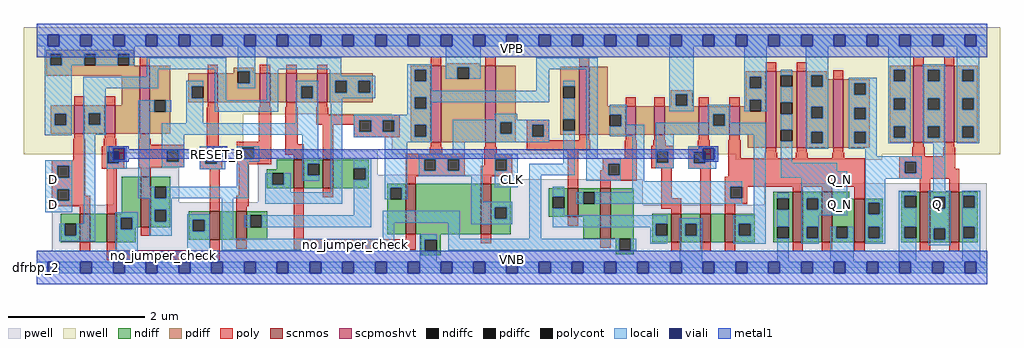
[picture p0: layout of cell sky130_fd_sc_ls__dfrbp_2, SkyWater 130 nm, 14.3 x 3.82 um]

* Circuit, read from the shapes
.subckt sky130_fd_sc_ls__dfrbp_2 CLK D RESET_B VGND VNB VPB VPWR Q Q_N
XM1 n1 D n2 VNB sky130_fd_pr__nfet_01v8 w=0.42 l=0.15
XM2 VGND RESET_B n1 VNB sky130_fd_pr__nfet_01v8 w=0.42 l=0.15
XM3 n3 n4 VGND VNB sky130_fd_pr__nfet_01v8 w=0.74 l=0.15
XM4 n5 RESET_B VGND VNB sky130_fd_pr__nfet_01v8 w=0.42 l=0.15
XM5 n6 n3 n5 VNB sky130_fd_pr__nfet_01v8 w=0.42 l=0.15
XM6 n4 n7 n2 VNB sky130_fd_pr__nfet_01v8 w=0.42 l=0.15
XM7 n6 n8 n4 VNB sky130_fd_pr__nfet_01v8 w=0.42 l=0.15
XM8 VGND n7 n8 VNB sky130_fd_pr__nfet_01v8 w=0.74 l=0.15
XM9 n7 CLK VGND VNB sky130_fd_pr__nfet_01v8 w=0.74 l=0.15
XM10 n9 n7 n10 VNB sky130_fd_pr__nfet_01v8 w=0.42 l=0.15
XM11 n3 n8 n9 VNB sky130_fd_pr__nfet_01v8 w=0.74 l=0.15
XM12 VGND n11 n10 VNB sky130_fd_pr__nfet_01v8 w=0.42 l=0.15
XM13 n12 RESET_B VGND VNB sky130_fd_pr__nfet_01v8 w=0.42 l=0.15
XM14 n11 n9 n12 VNB sky130_fd_pr__nfet_01v8 w=0.42 l=0.15
XM15 Q_N n9 VGND VNB sky130_fd_pr__nfet_01v8 w=0.74 l=0.15 m=2
XM16 n13 n9 VGND VNB sky130_fd_pr__nfet_01v8 w=0.64 l=0.15
XM17 Q n13 VGND VNB sky130_fd_pr__nfet_01v8 w=0.74 l=0.15 m=2
XM18 n2 D VPWR VPB sky130_fd_pr__pfet_01v8_hvt w=0.42 l=0.15
XM19 VPWR RESET_B n2 VPB sky130_fd_pr__pfet_01v8_hvt w=0.42 l=0.15
XM20 n3 n4 VPWR VPB sky130_fd_pr__pfet_01v8_hvt w=1 l=0.15
XM21 VPWR RESET_B n4 VPB sky130_fd_pr__pfet_01v8_hvt w=0.42 l=0.15
XM22 n14 n3 VPWR VPB sky130_fd_pr__pfet_01v8_hvt w=0.42 l=0.15
XM23 n4 n7 n14 VPB sky130_fd_pr__pfet_01v8_hvt w=0.42 l=0.15
XM24 n2 n8 n4 VPB sky130_fd_pr__pfet_01v8_hvt w=0.42 l=0.15
XM25 VPWR n7 n8 VPB sky130_fd_pr__pfet_01v8_hvt w=1.12 l=0.15
XM26 n7 CLK VPWR VPB sky130_fd_pr__pfet_01v8_hvt w=1.12 l=0.15
XM27 n9 n7 n3 VPB sky130_fd_pr__pfet_01v8_hvt w=1 l=0.15
XM28 n15 n8 n9 VPB sky130_fd_pr__pfet_01v8_hvt w=0.42 l=0.15
XM29 VPWR n11 n15 VPB sky130_fd_pr__pfet_01v8_hvt w=0.42 l=0.15
XM30 n11 RESET_B VPWR VPB sky130_fd_pr__pfet_01v8_hvt w=0.42 l=0.15
XM31 VPWR n9 n11 VPB sky130_fd_pr__pfet_01v8_hvt w=0.42 l=0.15
XM32 Q_N n9 VPWR VPB sky130_fd_pr__pfet_01v8_hvt w=1.12 l=0.15 m=2
XM33 n13 n9 VPWR VPB sky130_fd_pr__pfet_01v8_hvt w=1 l=0.15
XM34 Q n13 VPWR VPB sky130_fd_pr__pfet_01v8_hvt w=1.12 l=0.15 m=2
.ends

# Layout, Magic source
magic
tech sky130A
magscale 1 2
<< nwell >>
rect -38 449 2822 704
rect -38 335 605 449
rect -38 332 228 335
rect 1040 332 2822 449
rect 2047 316 2477 332
<< pwell >>
rect 676 314 998 342
rect 223 191 417 293
rect 647 272 998 314
rect 647 259 1414 272
rect 647 191 1775 259
rect 223 184 1775 191
rect 2131 184 2783 248
rect 44 49 2783 184
rect 0 0 2784 49
<< scnmos >>
rect 126 74 156 158
rect 204 74 234 158
rect 304 119 334 267
rect 752 232 782 316
rect 838 232 868 316
rect 506 81 536 165
rect 584 81 614 165
rect 1080 98 1110 246
rect 1301 98 1331 246
rect 1556 149 1586 233
rect 1651 85 1681 233
rect 1858 74 1888 158
rect 1944 74 1974 158
rect 2016 74 2046 158
rect 2214 74 2244 222
rect 2300 74 2330 222
rect 2395 74 2425 202
rect 2587 74 2617 222
rect 2673 74 2703 222
<< scpmoshvt >>
rect 109 392 139 476
rect 199 392 229 476
rect 301 392 331 592
rect 500 485 530 569
rect 653 485 683 569
rect 731 485 761 569
rect 821 485 851 569
rect 1154 368 1184 592
rect 1314 368 1344 592
rect 1589 389 1619 589
rect 1725 389 1755 473
rect 1809 389 1839 473
rect 1939 389 1969 473
rect 2029 389 2059 473
rect 2136 352 2166 576
rect 2226 352 2256 576
rect 2333 352 2363 552
rect 2568 368 2598 592
rect 2658 368 2688 592
<< ndiff >>
rect 249 158 304 267
rect 70 128 126 158
rect 70 94 81 128
rect 115 94 126 128
rect 70 74 126 94
rect 156 74 204 158
rect 234 146 304 158
rect 234 112 245 146
rect 279 119 304 146
rect 334 237 391 267
rect 334 203 345 237
rect 379 203 391 237
rect 334 169 391 203
rect 334 135 345 169
rect 379 135 391 169
rect 702 288 752 316
rect 673 277 752 288
rect 673 243 689 277
rect 723 243 752 277
rect 673 232 752 243
rect 782 305 838 316
rect 782 271 793 305
rect 827 271 838 305
rect 782 232 838 271
rect 868 291 972 316
rect 868 257 929 291
rect 963 257 972 291
rect 868 232 972 257
rect 1026 234 1080 246
rect 334 119 391 135
rect 445 140 506 165
rect 279 112 289 119
rect 234 74 289 112
rect 445 106 457 140
rect 491 106 506 140
rect 445 81 506 106
rect 536 81 584 165
rect 614 153 675 165
rect 614 119 625 153
rect 659 119 675 153
rect 614 81 675 119
rect 1026 200 1035 234
rect 1069 200 1080 234
rect 1026 98 1080 200
rect 1110 98 1301 246
rect 1331 177 1388 246
rect 1331 143 1342 177
rect 1376 143 1388 177
rect 1499 208 1556 233
rect 1499 174 1511 208
rect 1545 174 1556 208
rect 1499 149 1556 174
rect 1586 221 1651 233
rect 1586 187 1601 221
rect 1635 187 1651 221
rect 1586 149 1651 187
rect 1331 98 1388 143
rect 1125 82 1183 98
rect 1125 48 1137 82
rect 1171 48 1183 82
rect 1601 85 1651 149
rect 1681 85 1749 233
rect 2157 204 2214 222
rect 2157 170 2169 204
rect 2203 170 2214 204
rect 1125 36 1183 48
rect 1696 51 1706 85
rect 1740 51 1749 85
rect 1803 128 1858 158
rect 1803 94 1813 128
rect 1847 94 1858 128
rect 1803 74 1858 94
rect 1888 128 1944 158
rect 1888 94 1899 128
rect 1933 94 1944 128
rect 1888 74 1944 94
rect 1974 74 2016 158
rect 2046 128 2103 158
rect 2046 94 2057 128
rect 2091 94 2103 128
rect 2046 74 2103 94
rect 2157 120 2214 170
rect 2157 86 2169 120
rect 2203 86 2214 120
rect 2157 74 2214 86
rect 2244 204 2300 222
rect 2244 170 2255 204
rect 2289 170 2300 204
rect 2244 120 2300 170
rect 2244 86 2255 120
rect 2289 86 2300 120
rect 2244 74 2300 86
rect 2330 202 2380 222
rect 2533 210 2587 222
rect 2330 120 2395 202
rect 2330 86 2342 120
rect 2376 86 2395 120
rect 2330 74 2395 86
rect 2425 190 2479 202
rect 2425 156 2436 190
rect 2470 156 2479 190
rect 2425 120 2479 156
rect 2425 86 2436 120
rect 2470 86 2479 120
rect 2425 74 2479 86
rect 2533 176 2542 210
rect 2576 176 2587 210
rect 2533 120 2587 176
rect 2533 86 2542 120
rect 2576 86 2587 120
rect 2533 74 2587 86
rect 2617 207 2673 222
rect 2617 173 2628 207
rect 2662 173 2673 207
rect 2617 116 2673 173
rect 2617 82 2628 116
rect 2662 82 2673 116
rect 2617 74 2673 82
rect 2703 210 2757 222
rect 2703 176 2714 210
rect 2748 176 2757 210
rect 2703 120 2757 176
rect 2703 86 2714 120
rect 2748 86 2757 120
rect 2703 74 2757 86
rect 1696 39 1749 51
<< pdiff >>
rect 27 627 283 639
rect 27 593 39 627
rect 73 593 138 627
rect 172 593 237 627
rect 271 593 283 627
rect 27 592 283 593
rect 27 562 301 592
rect 248 476 301 562
rect 40 451 109 476
rect 40 417 52 451
rect 86 417 109 451
rect 40 392 109 417
rect 139 452 199 476
rect 139 418 152 452
rect 186 418 199 452
rect 139 392 199 418
rect 229 392 301 476
rect 331 491 390 592
rect 577 575 635 586
rect 577 569 589 575
rect 331 457 344 491
rect 378 457 390 491
rect 444 531 500 569
rect 444 497 453 531
rect 487 497 500 531
rect 444 485 500 497
rect 530 541 589 569
rect 623 569 635 575
rect 1202 592 1296 599
rect 1095 580 1154 592
rect 623 541 653 569
rect 530 485 653 541
rect 683 485 731 569
rect 761 531 821 569
rect 761 497 774 531
rect 808 497 821 531
rect 761 485 821 497
rect 851 547 984 569
rect 851 513 874 547
rect 908 513 942 547
rect 976 513 984 547
rect 851 485 984 513
rect 1095 546 1107 580
rect 1141 546 1154 580
rect 1095 499 1154 546
rect 331 392 390 457
rect 1095 465 1107 499
rect 1141 465 1154 499
rect 1095 418 1154 465
rect 1095 384 1107 418
rect 1141 384 1154 418
rect 1095 368 1154 384
rect 1184 587 1314 592
rect 1184 553 1232 587
rect 1266 553 1314 587
rect 1184 368 1314 553
rect 1344 426 1403 592
rect 1533 531 1589 589
rect 1533 497 1542 531
rect 1576 497 1589 531
rect 1533 435 1589 497
rect 1344 392 1357 426
rect 1391 392 1403 426
rect 1344 368 1403 392
rect 1533 401 1542 435
rect 1576 401 1589 435
rect 1533 389 1589 401
rect 1619 473 1672 589
rect 2499 580 2568 592
rect 2077 560 2136 576
rect 2077 526 2089 560
rect 2123 526 2136 560
rect 1857 508 1921 520
rect 1857 474 1872 508
rect 1906 474 1921 508
rect 1857 473 1921 474
rect 2077 492 2136 526
rect 2077 473 2089 492
rect 1619 448 1725 473
rect 1619 414 1678 448
rect 1712 414 1725 448
rect 1619 389 1725 414
rect 1755 389 1809 473
rect 1839 389 1939 473
rect 1969 450 2029 473
rect 1969 416 1982 450
rect 2016 416 2029 450
rect 1969 389 2029 416
rect 2059 458 2089 473
rect 2123 458 2136 492
rect 2059 389 2136 458
rect 2083 352 2136 389
rect 2166 564 2226 576
rect 2166 530 2179 564
rect 2213 530 2226 564
rect 2166 484 2226 530
rect 2166 450 2179 484
rect 2213 450 2226 484
rect 2166 404 2226 450
rect 2166 370 2179 404
rect 2213 370 2226 404
rect 2166 352 2226 370
rect 2256 564 2315 576
rect 2256 530 2269 564
rect 2303 552 2315 564
rect 2303 530 2333 552
rect 2256 472 2333 530
rect 2256 438 2269 472
rect 2303 438 2333 472
rect 2256 398 2333 438
rect 2256 364 2269 398
rect 2303 364 2333 398
rect 2256 352 2333 364
rect 2363 540 2441 552
rect 2363 506 2395 540
rect 2429 506 2441 540
rect 2363 469 2441 506
rect 2363 435 2395 469
rect 2429 435 2441 469
rect 2363 398 2441 435
rect 2363 364 2395 398
rect 2429 364 2441 398
rect 2499 546 2511 580
rect 2545 546 2568 580
rect 2499 497 2568 546
rect 2499 463 2511 497
rect 2545 463 2568 497
rect 2499 414 2568 463
rect 2499 380 2511 414
rect 2545 380 2568 414
rect 2499 368 2568 380
rect 2598 580 2658 592
rect 2598 546 2611 580
rect 2645 546 2658 580
rect 2598 497 2658 546
rect 2598 463 2611 497
rect 2645 463 2658 497
rect 2598 414 2658 463
rect 2598 380 2611 414
rect 2645 380 2658 414
rect 2598 368 2658 380
rect 2688 580 2757 592
rect 2688 546 2711 580
rect 2745 546 2757 580
rect 2688 497 2757 546
rect 2688 463 2711 497
rect 2745 463 2757 497
rect 2688 414 2757 463
rect 2688 380 2711 414
rect 2745 380 2757 414
rect 2688 368 2757 380
rect 2363 352 2441 364
<< ndiffc >>
rect 81 94 115 128
rect 245 112 279 146
rect 345 203 379 237
rect 345 135 379 169
rect 689 243 723 277
rect 793 271 827 305
rect 929 257 963 291
rect 457 106 491 140
rect 625 119 659 153
rect 1035 200 1069 234
rect 1342 143 1376 177
rect 1511 174 1545 208
rect 1601 187 1635 221
rect 1137 48 1171 82
rect 2169 170 2203 204
rect 1706 51 1740 85
rect 1813 94 1847 128
rect 1899 94 1933 128
rect 2057 94 2091 128
rect 2169 86 2203 120
rect 2255 170 2289 204
rect 2255 86 2289 120
rect 2342 86 2376 120
rect 2436 156 2470 190
rect 2436 86 2470 120
rect 2542 176 2576 210
rect 2542 86 2576 120
rect 2628 173 2662 207
rect 2628 82 2662 116
rect 2714 176 2748 210
rect 2714 86 2748 120
<< pdiffc >>
rect 39 593 73 627
rect 138 593 172 627
rect 237 593 271 627
rect 52 417 86 451
rect 152 418 186 452
rect 344 457 378 491
rect 453 497 487 531
rect 589 541 623 575
rect 774 497 808 531
rect 874 513 908 547
rect 942 513 976 547
rect 1107 546 1141 580
rect 1107 465 1141 499
rect 1107 384 1141 418
rect 1232 553 1266 587
rect 1542 497 1576 531
rect 1357 392 1391 426
rect 1542 401 1576 435
rect 2089 526 2123 560
rect 1872 474 1906 508
rect 1678 414 1712 448
rect 1982 416 2016 450
rect 2089 458 2123 492
rect 2179 530 2213 564
rect 2179 450 2213 484
rect 2179 370 2213 404
rect 2269 530 2303 564
rect 2269 438 2303 472
rect 2269 364 2303 398
rect 2395 506 2429 540
rect 2395 435 2429 469
rect 2395 364 2429 398
rect 2511 546 2545 580
rect 2511 463 2545 497
rect 2511 380 2545 414
rect 2611 546 2645 580
rect 2611 463 2645 497
rect 2611 380 2645 414
rect 2711 546 2745 580
rect 2711 463 2745 497
rect 2711 380 2745 414
<< poly >>
rect 301 592 331 618
rect 109 476 139 502
rect 199 476 229 502
rect 500 569 530 595
rect 653 569 683 595
rect 731 569 761 595
rect 821 569 851 595
rect 1154 592 1184 618
rect 1314 592 1344 618
rect 500 470 530 485
rect 653 470 683 485
rect 731 470 761 485
rect 821 470 851 485
rect 109 377 139 392
rect 199 377 229 392
rect 301 377 331 392
rect 106 314 142 377
rect 196 356 232 377
rect 298 360 334 377
rect 44 298 142 314
rect 44 264 60 298
rect 94 264 142 298
rect 190 340 256 356
rect 190 306 206 340
rect 240 306 256 340
rect 190 290 256 306
rect 298 344 431 360
rect 497 355 533 470
rect 650 369 686 470
rect 298 310 381 344
rect 415 310 431 344
rect 298 294 431 310
rect 477 339 543 355
rect 477 305 493 339
rect 527 305 543 339
rect 44 230 142 264
rect 44 196 60 230
rect 94 210 142 230
rect 94 196 156 210
rect 44 180 156 196
rect 126 158 156 180
rect 204 158 234 290
rect 304 267 334 294
rect 477 289 543 305
rect 585 353 686 369
rect 585 319 601 353
rect 635 319 686 353
rect 728 361 764 470
rect 818 448 854 470
rect 818 432 1063 448
rect 818 418 945 432
rect 728 331 782 361
rect 585 303 686 319
rect 752 316 782 331
rect 838 316 868 418
rect 929 398 945 418
rect 979 398 1013 432
rect 1047 398 1063 432
rect 929 382 1063 398
rect 1589 589 1619 615
rect 1435 418 1501 434
rect 1435 384 1451 418
rect 1485 384 1501 418
rect 2136 576 2166 602
rect 2226 576 2256 602
rect 2568 592 2598 618
rect 2658 592 2688 618
rect 1725 473 1755 499
rect 1809 473 1839 499
rect 1939 473 1969 499
rect 2029 473 2059 499
rect 1435 374 1501 384
rect 1589 374 1619 389
rect 1725 374 1755 389
rect 1809 374 1839 389
rect 1939 374 1969 389
rect 2029 374 2059 389
rect 1154 353 1184 368
rect 1314 353 1344 368
rect 1151 334 1187 353
rect 1311 334 1347 353
rect 1435 344 1622 374
rect 1080 318 1253 334
rect 506 165 536 289
rect 591 210 621 303
rect 1080 284 1135 318
rect 1169 284 1203 318
rect 1237 284 1253 318
rect 1311 318 1393 334
rect 1311 298 1343 318
rect 1080 268 1253 284
rect 1301 284 1343 298
rect 1377 284 1393 318
rect 1301 268 1393 284
rect 1080 246 1110 268
rect 1301 246 1331 268
rect 584 180 621 210
rect 584 165 614 180
rect 304 93 334 119
rect 752 83 782 232
rect 838 206 868 232
rect 1556 233 1586 344
rect 1722 321 1758 374
rect 1806 357 1842 374
rect 1658 305 1758 321
rect 1658 285 1674 305
rect 1651 271 1674 285
rect 1708 271 1758 305
rect 1800 341 1866 357
rect 1936 356 1972 374
rect 1800 307 1816 341
rect 1850 307 1866 341
rect 1800 291 1866 307
rect 1908 340 1974 356
rect 1908 306 1924 340
rect 1958 306 1974 340
rect 1651 255 1758 271
rect 1651 233 1681 255
rect 1556 123 1586 149
rect 1080 83 1110 98
rect 126 48 156 74
rect 204 51 234 74
rect 506 51 536 81
rect 584 55 614 81
rect 752 53 1110 83
rect 204 21 536 51
rect 1301 72 1331 98
rect 1830 203 1860 291
rect 1908 290 1974 306
rect 1830 173 1888 203
rect 1858 158 1888 173
rect 1944 158 1974 290
rect 2026 320 2062 374
rect 2333 552 2363 578
rect 2568 353 2598 368
rect 2658 353 2688 368
rect 2136 337 2166 352
rect 2226 337 2256 352
rect 2333 337 2363 352
rect 2133 320 2169 337
rect 2223 320 2259 337
rect 2330 320 2366 337
rect 2565 326 2601 353
rect 2655 326 2691 353
rect 2026 267 2425 320
rect 2016 237 2425 267
rect 2527 310 2691 326
rect 2527 276 2543 310
rect 2577 290 2691 310
rect 2577 276 2703 290
rect 2527 260 2703 276
rect 2016 203 2032 237
rect 2066 203 2082 237
rect 2214 222 2244 237
rect 2300 222 2330 237
rect 2016 187 2082 203
rect 2016 158 2046 187
rect 1651 59 1681 85
rect 2395 202 2425 237
rect 2587 222 2617 260
rect 2673 222 2703 260
rect 1858 48 1888 74
rect 1944 48 1974 74
rect 2016 48 2046 74
rect 2214 48 2244 74
rect 2300 48 2330 74
rect 2395 48 2425 74
rect 2587 48 2617 74
rect 2673 48 2703 74
<< polycont >>
rect 60 264 94 298
rect 206 306 240 340
rect 381 310 415 344
rect 493 305 527 339
rect 60 196 94 230
rect 601 319 635 353
rect 945 398 979 432
rect 1013 398 1047 432
rect 1451 384 1485 418
rect 1135 284 1169 318
rect 1203 284 1237 318
rect 1343 284 1377 318
rect 1674 271 1708 305
rect 1816 307 1850 341
rect 1924 306 1958 340
rect 2543 276 2577 310
rect 2032 203 2066 237
<< locali >>
rect 0 649 31 683
rect 65 649 127 683
rect 161 649 223 683
rect 257 649 319 683
rect 353 649 415 683
rect 449 649 511 683
rect 545 649 607 683
rect 641 649 703 683
rect 737 649 799 683
rect 833 649 895 683
rect 929 649 991 683
rect 1025 649 1087 683
rect 1121 649 1183 683
rect 1217 649 1279 683
rect 1313 649 1375 683
rect 1409 649 1471 683
rect 1505 649 1567 683
rect 1601 649 1663 683
rect 1697 649 1759 683
rect 1793 649 1855 683
rect 1889 649 1951 683
rect 1985 649 2047 683
rect 2081 649 2143 683
rect 2177 649 2239 683
rect 2273 649 2335 683
rect 2369 649 2431 683
rect 2465 649 2527 683
rect 2561 649 2623 683
rect 2657 649 2719 683
rect 2753 649 2784 683
rect 23 627 287 649
rect 23 593 39 627
rect 73 593 138 627
rect 172 593 237 627
rect 271 593 287 627
rect 23 451 102 593
rect 321 581 555 615
rect 321 559 355 581
rect 23 417 52 451
rect 86 417 102 451
rect 23 388 102 417
rect 136 525 355 559
rect 437 531 487 547
rect 136 452 202 525
rect 437 497 453 531
rect 136 418 152 452
rect 186 418 202 452
rect 136 390 202 418
rect 297 457 344 491
rect 378 457 394 491
rect 25 298 103 314
rect 25 264 60 298
rect 94 264 103 298
rect 25 230 103 264
rect 25 196 60 230
rect 94 196 103 230
rect 25 162 103 196
rect 137 128 171 390
rect 205 350 263 356
rect 205 340 223 350
rect 205 306 206 340
rect 257 316 263 350
rect 240 306 263 316
rect 205 290 263 306
rect 297 237 331 457
rect 437 423 487 497
rect 521 491 555 581
rect 589 575 639 649
rect 623 541 639 575
rect 589 525 639 541
rect 673 581 892 615
rect 673 491 707 581
rect 858 563 892 581
rect 1085 580 1157 596
rect 858 547 992 563
rect 521 457 707 491
rect 758 531 824 547
rect 758 497 774 531
rect 808 497 824 531
rect 758 423 824 497
rect 858 513 874 547
rect 908 513 942 547
rect 976 513 992 547
rect 858 497 992 513
rect 1085 546 1107 580
rect 1141 546 1157 580
rect 1198 587 1300 649
rect 1198 553 1232 587
rect 1266 553 1300 587
rect 1463 581 1644 615
rect 1085 519 1157 546
rect 1463 519 1501 581
rect 1085 499 1501 519
rect 858 482 895 497
rect 365 389 824 423
rect 365 344 431 389
rect 365 310 381 344
rect 415 310 431 344
rect 365 294 431 310
rect 477 350 551 355
rect 477 339 511 350
rect 477 305 493 339
rect 545 316 551 350
rect 527 305 551 316
rect 477 289 551 305
rect 585 353 651 355
rect 585 319 601 353
rect 635 319 651 353
rect 585 311 651 319
rect 777 322 824 389
rect 585 237 619 311
rect 777 305 827 322
rect 297 203 345 237
rect 379 203 619 237
rect 669 243 689 277
rect 723 243 743 277
rect 777 271 793 305
rect 777 255 827 271
rect 669 221 743 243
rect 861 221 895 482
rect 1085 465 1107 499
rect 1141 485 1501 499
rect 1542 531 1576 547
rect 1141 465 1157 485
rect 1085 448 1157 465
rect 929 432 1157 448
rect 1341 434 1407 451
rect 1542 435 1576 497
rect 929 398 945 432
rect 979 398 1013 432
rect 1047 418 1157 432
rect 1047 398 1107 418
rect 929 384 1107 398
rect 1141 384 1157 418
rect 929 382 1157 384
rect 1019 368 1157 382
rect 1219 426 1501 434
rect 1219 392 1357 426
rect 1391 418 1501 426
rect 1391 392 1451 418
rect 1219 384 1451 392
rect 1485 384 1501 418
rect 1219 368 1501 384
rect 329 169 395 203
rect 65 94 81 128
rect 115 94 171 128
rect 65 78 171 94
rect 229 146 295 162
rect 229 112 245 146
rect 279 112 295 146
rect 229 17 295 112
rect 329 135 345 169
rect 379 135 395 169
rect 329 93 395 135
rect 441 140 507 156
rect 441 106 457 140
rect 491 106 507 140
rect 441 17 507 106
rect 541 85 575 203
rect 669 187 895 221
rect 929 291 979 320
rect 963 257 979 291
rect 929 153 979 257
rect 1019 234 1085 368
rect 1219 334 1253 368
rect 1119 318 1307 334
rect 1119 284 1135 318
rect 1169 284 1203 318
rect 1237 284 1307 318
rect 1119 268 1307 284
rect 1019 200 1035 234
rect 1069 200 1085 234
rect 1273 193 1307 268
rect 1341 318 1409 334
rect 1341 284 1343 318
rect 1377 284 1409 318
rect 1542 305 1576 401
rect 1341 236 1409 284
rect 1443 271 1576 305
rect 1610 321 1644 581
rect 1853 508 1925 649
rect 1678 448 1728 477
rect 1853 474 1872 508
rect 1906 474 1925 508
rect 2073 560 2139 649
rect 2073 526 2089 560
rect 2123 526 2139 560
rect 2073 492 2139 526
rect 1853 458 1925 474
rect 1712 419 1728 448
rect 1966 450 2032 477
rect 2073 458 2089 492
rect 2123 458 2139 492
rect 2179 564 2213 580
rect 2179 484 2213 530
rect 1966 424 1982 450
rect 1712 414 1779 419
rect 1678 385 1779 414
rect 1610 305 1711 321
rect 1610 271 1674 305
rect 1708 271 1711 305
rect 1273 177 1392 193
rect 609 119 625 153
rect 659 119 979 153
rect 1013 132 1239 166
rect 1013 85 1047 132
rect 541 51 1047 85
rect 1121 82 1171 98
rect 1121 48 1137 82
rect 1205 85 1239 132
rect 1273 143 1342 177
rect 1376 143 1392 177
rect 1273 127 1392 143
rect 1443 85 1477 271
rect 1610 255 1711 271
rect 1745 253 1779 385
rect 1813 416 1982 424
rect 2016 424 2032 450
rect 2016 416 2135 424
rect 1813 390 2135 416
rect 1813 341 1866 390
rect 1813 307 1816 341
rect 1850 307 1866 341
rect 1813 291 1866 307
rect 1908 350 1991 356
rect 1908 340 1951 350
rect 1908 306 1924 340
rect 1985 316 1991 350
rect 1958 306 1991 316
rect 1908 290 1991 306
rect 1745 237 2067 253
rect 1511 208 1545 237
rect 1745 221 2032 237
rect 1581 187 1601 221
rect 1635 203 2032 221
rect 2066 203 2067 237
rect 1635 187 2067 203
rect 1511 153 1545 174
rect 2101 153 2135 390
rect 2179 404 2213 450
rect 2179 308 2213 370
rect 2253 564 2319 649
rect 2253 530 2269 564
rect 2303 530 2319 564
rect 2495 580 2561 649
rect 2253 472 2319 530
rect 2253 438 2269 472
rect 2303 438 2319 472
rect 2253 398 2319 438
rect 2253 364 2269 398
rect 2303 364 2319 398
rect 2253 348 2319 364
rect 2379 540 2461 556
rect 2379 506 2395 540
rect 2429 506 2461 540
rect 2379 469 2461 506
rect 2379 435 2395 469
rect 2429 435 2461 469
rect 2379 398 2461 435
rect 2379 364 2395 398
rect 2429 364 2461 398
rect 2495 546 2511 580
rect 2545 546 2561 580
rect 2495 497 2561 546
rect 2495 463 2511 497
rect 2545 463 2561 497
rect 2495 414 2561 463
rect 2495 380 2511 414
rect 2545 380 2561 414
rect 2495 364 2561 380
rect 2595 580 2661 596
rect 2595 546 2611 580
rect 2645 546 2661 580
rect 2595 497 2661 546
rect 2595 463 2611 497
rect 2645 463 2661 497
rect 2595 414 2661 463
rect 2595 380 2611 414
rect 2645 380 2661 414
rect 2595 364 2661 380
rect 2695 580 2761 649
rect 2695 546 2711 580
rect 2745 546 2761 580
rect 2695 497 2761 546
rect 2695 463 2711 497
rect 2745 463 2761 497
rect 2695 414 2761 463
rect 2695 380 2711 414
rect 2745 380 2761 414
rect 2695 364 2761 380
rect 2379 348 2461 364
rect 2427 326 2461 348
rect 2427 310 2593 326
rect 2179 282 2345 308
rect 2179 264 2375 282
rect 1511 128 1847 153
rect 1511 119 1813 128
rect 1797 94 1813 119
rect 1205 51 1706 85
rect 1740 51 1756 85
rect 1797 70 1847 94
rect 1883 128 1949 144
rect 1883 94 1899 128
rect 1933 94 1949 128
rect 1121 17 1171 48
rect 1883 17 1949 94
rect 2041 128 2135 153
rect 2041 94 2057 128
rect 2091 94 2135 128
rect 2041 70 2135 94
rect 2169 204 2203 220
rect 2169 120 2203 170
rect 2169 17 2203 86
rect 2239 204 2375 264
rect 2239 170 2255 204
rect 2289 170 2375 204
rect 2239 154 2375 170
rect 2427 276 2543 310
rect 2577 276 2593 310
rect 2427 260 2593 276
rect 2427 190 2486 260
rect 2627 226 2661 364
rect 2427 156 2436 190
rect 2470 156 2486 190
rect 2239 120 2291 154
rect 2427 120 2486 156
rect 2239 86 2255 120
rect 2289 86 2291 120
rect 2239 70 2291 86
rect 2325 86 2342 120
rect 2376 86 2393 120
rect 2325 17 2393 86
rect 2427 86 2436 120
rect 2470 86 2486 120
rect 2427 70 2486 86
rect 2526 210 2576 226
rect 2526 176 2542 210
rect 2526 120 2576 176
rect 2526 86 2542 120
rect 2526 17 2576 86
rect 2612 207 2678 226
rect 2612 173 2628 207
rect 2662 173 2678 207
rect 2612 116 2678 173
rect 2612 82 2628 116
rect 2662 82 2678 116
rect 2612 66 2678 82
rect 2712 210 2764 226
rect 2712 176 2714 210
rect 2748 176 2764 210
rect 2712 120 2764 176
rect 2712 86 2714 120
rect 2748 86 2764 120
rect 2712 17 2764 86
rect 0 -17 31 17
rect 65 -17 127 17
rect 161 -17 223 17
rect 257 -17 319 17
rect 353 -17 415 17
rect 449 -17 511 17
rect 545 -17 607 17
rect 641 -17 703 17
rect 737 -17 799 17
rect 833 -17 895 17
rect 929 -17 991 17
rect 1025 -17 1087 17
rect 1121 -17 1183 17
rect 1217 -17 1279 17
rect 1313 -17 1375 17
rect 1409 -17 1471 17
rect 1505 -17 1567 17
rect 1601 -17 1663 17
rect 1697 -17 1759 17
rect 1793 -17 1855 17
rect 1889 -17 1951 17
rect 1985 -17 2047 17
rect 2081 -17 2143 17
rect 2177 -17 2239 17
rect 2273 -17 2335 17
rect 2369 -17 2431 17
rect 2465 -17 2527 17
rect 2561 -17 2623 17
rect 2657 -17 2719 17
rect 2753 -17 2784 17
<< viali >>
rect 31 649 65 683
rect 127 649 161 683
rect 223 649 257 683
rect 319 649 353 683
rect 415 649 449 683
rect 511 649 545 683
rect 607 649 641 683
rect 703 649 737 683
rect 799 649 833 683
rect 895 649 929 683
rect 991 649 1025 683
rect 1087 649 1121 683
rect 1183 649 1217 683
rect 1279 649 1313 683
rect 1375 649 1409 683
rect 1471 649 1505 683
rect 1567 649 1601 683
rect 1663 649 1697 683
rect 1759 649 1793 683
rect 1855 649 1889 683
rect 1951 649 1985 683
rect 2047 649 2081 683
rect 2143 649 2177 683
rect 2239 649 2273 683
rect 2335 649 2369 683
rect 2431 649 2465 683
rect 2527 649 2561 683
rect 2623 649 2657 683
rect 2719 649 2753 683
rect 223 340 257 350
rect 223 316 240 340
rect 240 316 257 340
rect 511 339 545 350
rect 511 316 527 339
rect 527 316 545 339
rect 1951 340 1985 350
rect 1951 316 1958 340
rect 1958 316 1985 340
rect 31 -17 65 17
rect 127 -17 161 17
rect 223 -17 257 17
rect 319 -17 353 17
rect 415 -17 449 17
rect 511 -17 545 17
rect 607 -17 641 17
rect 703 -17 737 17
rect 799 -17 833 17
rect 895 -17 929 17
rect 991 -17 1025 17
rect 1087 -17 1121 17
rect 1183 -17 1217 17
rect 1279 -17 1313 17
rect 1375 -17 1409 17
rect 1471 -17 1505 17
rect 1567 -17 1601 17
rect 1663 -17 1697 17
rect 1759 -17 1793 17
rect 1855 -17 1889 17
rect 1951 -17 1985 17
rect 2047 -17 2081 17
rect 2143 -17 2177 17
rect 2239 -17 2273 17
rect 2335 -17 2369 17
rect 2431 -17 2465 17
rect 2527 -17 2561 17
rect 2623 -17 2657 17
rect 2719 -17 2753 17
<< metal1 >>
rect 0 683 2784 715
rect 0 649 31 683
rect 65 649 127 683
rect 161 649 223 683
rect 257 649 319 683
rect 353 649 415 683
rect 449 649 511 683
rect 545 649 607 683
rect 641 649 703 683
rect 737 649 799 683
rect 833 649 895 683
rect 929 649 991 683
rect 1025 649 1087 683
rect 1121 649 1183 683
rect 1217 649 1279 683
rect 1313 649 1375 683
rect 1409 649 1471 683
rect 1505 649 1567 683
rect 1601 649 1663 683
rect 1697 649 1759 683
rect 1793 649 1855 683
rect 1889 649 1951 683
rect 1985 649 2047 683
rect 2081 649 2143 683
rect 2177 649 2239 683
rect 2273 649 2335 683
rect 2369 649 2431 683
rect 2465 649 2527 683
rect 2561 649 2623 683
rect 2657 649 2719 683
rect 2753 649 2784 683
rect 0 617 2784 649
rect 211 350 269 356
rect 211 316 223 350
rect 257 347 269 350
rect 499 350 557 356
rect 499 347 511 350
rect 257 319 511 347
rect 257 316 269 319
rect 211 310 269 316
rect 499 316 511 319
rect 545 347 557 350
rect 1939 350 1997 356
rect 1939 347 1951 350
rect 545 319 1951 347
rect 545 316 557 319
rect 499 310 557 316
rect 1939 316 1951 319
rect 1985 316 1997 350
rect 1939 310 1997 316
rect 0 17 2784 49
rect 0 -17 31 17
rect 65 -17 127 17
rect 161 -17 223 17
rect 257 -17 319 17
rect 353 -17 415 17
rect 449 -17 511 17
rect 545 -17 607 17
rect 641 -17 703 17
rect 737 -17 799 17
rect 833 -17 895 17
rect 929 -17 991 17
rect 1025 -17 1087 17
rect 1121 -17 1183 17
rect 1217 -17 1279 17
rect 1313 -17 1375 17
rect 1409 -17 1471 17
rect 1505 -17 1567 17
rect 1601 -17 1663 17
rect 1697 -17 1759 17
rect 1793 -17 1855 17
rect 1889 -17 1951 17
rect 1985 -17 2047 17
rect 2081 -17 2143 17
rect 2177 -17 2239 17
rect 2273 -17 2335 17
rect 2369 -17 2431 17
rect 2465 -17 2527 17
rect 2561 -17 2623 17
rect 2657 -17 2719 17
rect 2753 -17 2784 17
rect 0 -49 2784 -17
<< labels >>
rlabel comment s 0 0 0 0 4 dfrbp_2
flabel comment s 934 68 934 68 0 FreeSans 300 0 0 0 no_jumper_check
flabel comment s 372 36 372 36 0 FreeSans 300 0 0 0 no_jumper_check
flabel pwell s 0 0 2784 49 0 FreeSans 200 0 0 0 VNB
port 5 nsew ground bidirectional
flabel nwell s 0 617 2784 666 0 FreeSans 200 0 0 0 VPB
port 6 nsew power bidirectional
flabel metal1 s 511 316 545 350 0 FreeSans 340 0 0 0 RESET_B
port 3 nsew signal input
flabel metal1 s 0 617 2784 666 0 FreeSans 340 0 0 0 VPWR
port 7 nsew power bidirectional abutment
flabel metal1 s 0 0 2784 49 0 FreeSans 340 0 0 0 VGND
port 4 nsew ground bidirectional abutment
flabel locali s 2623 168 2657 202 0 FreeSans 340 0 0 0 Q
port 8 nsew signal output
flabel locali s 2335 168 2369 202 0 FreeSans 340 0 0 0 Q_N
port 9 nsew signal output
flabel locali s 2335 242 2369 276 0 FreeSans 340 0 0 0 Q_N
port 9 nsew signal output
flabel locali s 31 168 65 202 0 FreeSans 340 0 0 0 D
port 2 nsew signal input
flabel locali s 31 242 65 276 0 FreeSans 340 0 0 0 D
port 2 nsew signal input
flabel locali s 1375 242 1409 276 0 FreeSans 340 0 0 0 CLK
port 1 nsew clock input
<< properties >>
string LEFsite unit
string LEFclass CORE
string FIXED_BBOX 0 0 2784 666
string GDS_FILE $PDKPATH/libs.ref/sky130_fd_sc_ls/gds/sky130_fd_sc_ls.gds
string LEFsymmetry X Y R90
string GDS_END 3245608
string GDS_START 3225492
<< end >>
